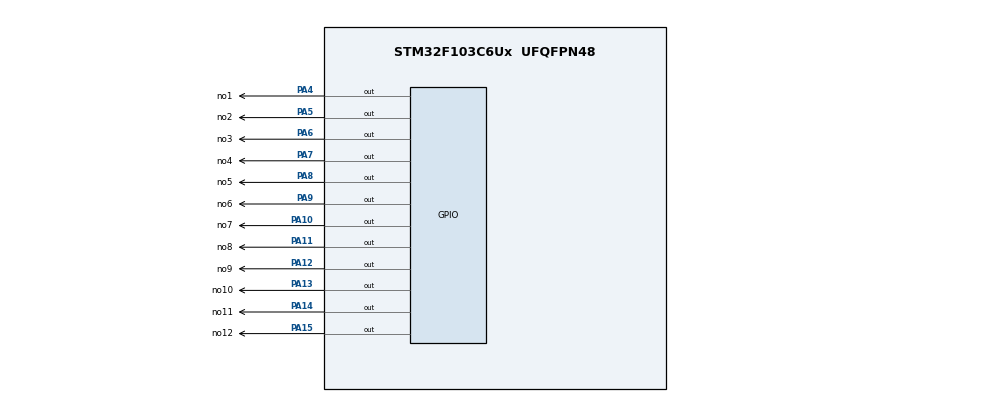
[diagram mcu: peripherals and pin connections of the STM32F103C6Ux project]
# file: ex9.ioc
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Mcu.Family=STM32F1
Mcu.Name=STM32F103C6Ux
Mcu.Package=UFQFPN48
NVIC.PriorityGroup=NVIC_PRIORITYGROUP_4
PA10.GPIO_Label=no7
PA10.Signal=GPIO_Output
PA11.GPIO_Label=no8
PA11.Signal=GPIO_Output
PA12.GPIO_Label=no9
PA12.Signal=GPIO_Output
PA13.GPIO_Label=no10
PA13.Signal=GPIO_Output
PA14.GPIO_Label=no11
PA14.Signal=GPIO_Output
PA15.GPIO_Label=no12
PA15.Signal=GPIO_Output
PA4.GPIO_Label=no1
PA4.Signal=GPIO_Output
PA5.GPIO_Label=no2
PA5.Signal=GPIO_Output
PA6.GPIO_Label=no3
PA6.Signal=GPIO_Output
PA7.GPIO_Label=no4
PA7.Signal=GPIO_Output
PA8.GPIO_Label=no5
PA8.Signal=GPIO_Output
PA9.GPIO_Label=no6
PA9.Signal=GPIO_Output
ProjectManager.HeapSize=0x200
ProjectManager.StackSize=0x400
ProjectManager.TargetToolchain=STM32CubeIDE
RCC.APB1Freq_Value=8000000
RCC.APB2Freq_Value=8000000
VP_SYS_VS_ND.Mode=No_Debug
board=custom

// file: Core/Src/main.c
/* USER CODE BEGIN Header */
/**
  ******************************************************************************
  * @file           : main.c
  * @brief          : Main program body
  ******************************************************************************
  * @attention
  *
  * <h2><center>&copy; Copyright (c) 2025 STMicroelectronics.
  * All rights reserved.</center></h2>
  *
  * This software component is licensed by ST under BSD 3-Clause license,
  * the "License"; You may not use this file except in compliance with the
  * License. You may obtain a copy of the License at:
  *                        opensource.org/licenses/BSD-3-Clause
  *
  ******************************************************************************
  */
/* USER CODE END Header */
#include "main.h"

void SystemClock_Config(void);
static void MX_GPIO_Init(void);

int main(void)
{

  /* MCU Configuration--------------------------------------------------------*/

  /* Reset of all peripherals, Initializes the Flash interface and the Systick. */
  HAL_Init();

  /* Configure the system clock */
  SystemClock_Config();

  /* Initialize all configured peripherals */
  MX_GPIO_Init();
  /* USER CODE BEGIN 2 */
  void clearAllClock(){
	  HAL_GPIO_WritePin(GPIOA, no1_Pin | no2_Pin | no3_Pin | no4_Pin |
	                                   no5_Pin | no6_Pin | no7_Pin | no8_Pin |
	                                   no9_Pin | no10_Pin | no11_Pin | no12_Pin,
	                                   GPIO_PIN_SET);
  }

  void setNumberOnClock(int num){

	  //invalid
	  if (num < 0 || num > 11) return;
	  // Select the LED based on num (0–11)
	  switch(num)
	  {
		  case 0: HAL_GPIO_WritePin(GPIOA, no1_Pin, GPIO_PIN_RESET); break;
		  case 1: HAL_GPIO_WritePin(GPIOA, no2_Pin, GPIO_PIN_RESET); break;
		  case 2: HAL_GPIO_WritePin(GPIOA, no3_Pin, GPIO_PIN_RESET); break;
		  case 3: HAL_GPIO_WritePin(GPIOA, no4_Pin, GPIO_PIN_RESET); break;
		  case 4: HAL_GPIO_WritePin(GPIOA, no5_Pin, GPIO_PIN_RESET); break;
		  case 5: HAL_GPIO_WritePin(GPIOA, no6_Pin, GPIO_PIN_RESET); break;
		  case 6: HAL_GPIO_WritePin(GPIOA, no7_Pin, GPIO_PIN_RESET); break;
		  case 7: HAL_GPIO_WritePin(GPIOA, no8_Pin, GPIO_PIN_RESET); break;
		  case 8: HAL_GPIO_WritePin(GPIOA, no9_Pin, GPIO_PIN_RESET); break;
		  case 9: HAL_GPIO_WritePin(GPIOA, no10_Pin, GPIO_PIN_RESET); break;
		  case 10: HAL_GPIO_WritePin(GPIOA, no11_Pin, GPIO_PIN_RESET); break;
		  case 11: HAL_GPIO_WritePin(GPIOA, no12_Pin, GPIO_PIN_RESET); break;
		  default: break; // ignore invalid inputs
	  }
  }
  void clearNumberOnClock(int num){
	  if (num < 0 || num > 11) return;
	  // Select the LED based on num (0–11)
	  switch(num) {
		  case 0:  HAL_GPIO_WritePin(GPIOA, no1_Pin,  GPIO_PIN_SET); break;
		  case 1:  HAL_GPIO_WritePin(GPIOA, no2_Pin,  GPIO_PIN_SET); break;
		  case 2:  HAL_GPIO_WritePin(GPIOA, no3_Pin,  GPIO_PIN_SET); break;
		  case 3:  HAL_GPIO_WritePin(GPIOA, no4_Pin,  GPIO_PIN_SET); break;
		  case 4:  HAL_GPIO_WritePin(GPIOA, no5_Pin,  GPIO_PIN_SET); break;
		  case 5:  HAL_GPIO_WritePin(GPIOA, no6_Pin,  GPIO_PIN_SET); break;
		  case 6:  HAL_GPIO_WritePin(GPIOA, no7_Pin,  GPIO_PIN_SET); break;
		  case 7:  HAL_GPIO_WritePin(GPIOA, no8_Pin,  GPIO_PIN_SET); break;
		  case 8:  HAL_GPIO_WritePin(GPIOA, no9_Pin,  GPIO_PIN_SET); break;
		  case 9:  HAL_GPIO_WritePin(GPIOA, no10_Pin, GPIO_PIN_SET); break;
		  case 10: HAL_GPIO_WritePin(GPIOA, no11_Pin, GPIO_PIN_SET); break;
		  case 11: HAL_GPIO_WritePin(GPIOA, no12_Pin, GPIO_PIN_SET); break;
		  default: break;
	  }
  }

  int count = 0;

  /* USER CODE END 2 */

  /* Infinite loop */
  /* USER CODE BEGIN WHILE */
  while (1)
  {
	  HAL_Delay(1000);
	  //clear
	  if(count <= 11){
		  clearNumberOnClock(count++);
	  }

    /* USER CODE END WHILE */

  }
}

void SystemClock_Config(void)
{
  RCC_OscInitTypeDef RCC_OscInitStruct = {0};
  RCC_ClkInitTypeDef RCC_ClkInitStruct = {0};

  /** Initializes the RCC Oscillators according to the specified parameters
  * in the RCC_OscInitTypeDef structure.
  */
  RCC_OscInitStruct.OscillatorType = RCC_OSCILLATORTYPE_HSI;
  RCC_OscInitStruct.HSIState = RCC_HSI_ON;
  RCC_OscInitStruct.HSICalibrationValue = RCC_HSICALIBRATION_DEFAULT;
  RCC_OscInitStruct.PLL.PLLState = RCC_PLL_NONE;
  if (HAL_RCC_OscConfig(&RCC_OscInitStruct) != HAL_OK)
  {
    Error_Handler();
  }
  /** Initializes the CPU, AHB and APB buses clocks
  */
  RCC_ClkInitStruct.ClockType = RCC_CLOCKTYPE_HCLK|RCC_CLOCKTYPE_SYSCLK
                              |RCC_CLOCKTYPE_PCLK1|RCC_CLOCKTYPE_PCLK2;
  RCC_ClkInitStruct.SYSCLKSource = RCC_SYSCLKSOURCE_HSI;
  RCC_ClkInitStruct.AHBCLKDivider = RCC_SYSCLK_DIV1;
  RCC_ClkInitStruct.APB1CLKDivider = RCC_HCLK_DIV1;
  RCC_ClkInitStruct.APB2CLKDivider = RCC_HCLK_DIV1;

  if (HAL_RCC_ClockConfig(&RCC_ClkInitStruct, FLASH_LATENCY_0) != HAL_OK)
  {
    Error_Handler();
  }
}

static void MX_GPIO_Init(void)
{
  GPIO_InitTypeDef GPIO_InitStruct = {0};

  /* GPIO Ports Clock Enable */
  __HAL_RCC_GPIOA_CLK_ENABLE();

  /*Configure GPIO pin Output Level */
  HAL_GPIO_WritePin(GPIOA, no1_Pin|no2_Pin|no3_Pin|no4_Pin
                          |no5_Pin|no6_Pin|no7_Pin|no8_Pin
                          |no9_Pin|no10_Pin|no11_Pin|no12_Pin, GPIO_PIN_RESET);

  /*Configure GPIO pins : no1_Pin no2_Pin no3_Pin no4_Pin
                           no5_Pin no6_Pin no7_Pin no8_Pin
                           no9_Pin no10_Pin no11_Pin no12_Pin */
  GPIO_InitStruct.Pin = no1_Pin|no2_Pin|no3_Pin|no4_Pin
                          |no5_Pin|no6_Pin|no7_Pin|no8_Pin
                          |no9_Pin|no10_Pin|no11_Pin|no12_Pin;
  GPIO_InitStruct.Mode = GPIO_MODE_OUTPUT_PP;
  GPIO_InitStruct.Pull = GPIO_NOPULL;
  GPIO_InitStruct.Speed = GPIO_SPEED_FREQ_LOW;
  HAL_GPIO_Init(GPIOA, &GPIO_InitStruct);

}

void Error_Handler(void)
{
  __disable_irq();
  while (1)
  {
  }
}

/************************ (C) COPYRIGHT STMicroelectronics *****END OF FILE****/
